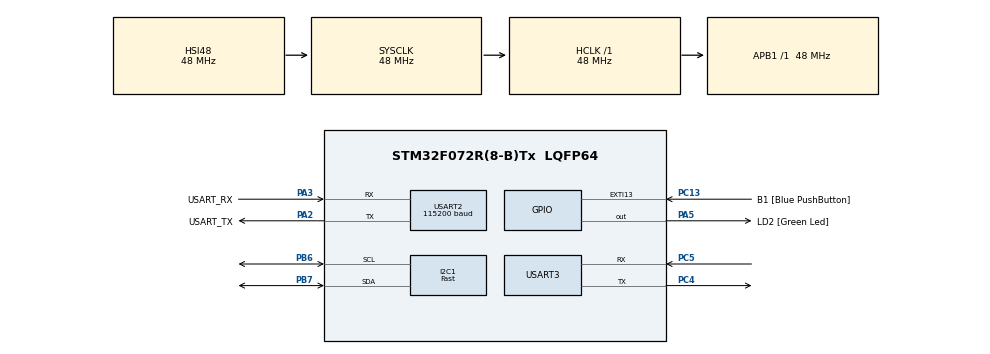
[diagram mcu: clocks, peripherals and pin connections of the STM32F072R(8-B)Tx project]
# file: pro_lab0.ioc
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I2C1.I2C_Speed_Mode=I2C_Fast
I2C1.Timing=0x0000020B
Mcu.Family=STM32F0
Mcu.Name=STM32F072R(8-B)Tx
Mcu.Package=LQFP64
NVIC.I2C1_IRQn=true\:0\:0\:false\:false\:true\:true\:true\:true
NVIC.USART3_4_IRQn=true\:0\:0\:false\:false\:true\:true\:true\:true
PA13.GPIO_Label=TMS
PA13.Mode=Serial_Wire
PA13.Signal=SYS_SWDIO
PA14.GPIO_Label=TCK
PA14.Mode=Serial_Wire
PA14.Signal=SYS_SWCLK
PA2.GPIO_Label=USART_TX
PA2.GPIO_Mode=GPIO_MODE_AF_PP
PA2.GPIO_PuPd=GPIO_NOPULL
PA2.GPIO_Speed=GPIO_SPEED_FREQ_LOW
PA2.Mode=Asynchronous
PA2.Signal=USART2_TX
PA3.GPIO_Label=USART_RX
PA3.GPIO_Mode=GPIO_MODE_AF_PP
PA3.GPIO_PuPd=GPIO_NOPULL
PA3.GPIO_Speed=GPIO_SPEED_FREQ_LOW
PA3.Mode=Asynchronous
PA3.Signal=USART2_RX
PA5.GPIO_Label=LD2 [Green Led]
PA5.GPIO_Mode=GPIO_MODE_OUTPUT_PP
PA5.GPIO_PuPd=GPIO_NOPULL
PA5.GPIO_Speed=GPIO_SPEED_FREQ_LOW
PA5.Signal=GPIO_Output
PB6.Mode=I2C
PB6.Signal=I2C1_SCL
PB7.Mode=I2C
PB7.Signal=I2C1_SDA
PC13.GPIO_Label=B1 [Blue PushButton]
PC13.GPIO_ModeDefaultEXTI=GPIO_MODE_IT_FALLING
PC13.Signal=GPXTI13
PC14-OSC32_IN.Mode=LSE-External-Oscillator
PC14-OSC32_IN.Signal=RCC_OSC32_IN
PC15-OSC32_OUT.Mode=LSE-External-Oscillator
PC15-OSC32_OUT.Signal=RCC_OSC32_OUT
PC4.Mode=Asynchronous
PC4.Signal=USART3_TX
PC5.Mode=Asynchronous
PC5.Signal=USART3_RX
PF0-OSC_IN.Mode=HSE-External-Clock-Source
PF0-OSC_IN.Signal=RCC_OSC_IN
PF1-OSC_OUT.Signal=RCC_OSC_OUT
ProjectManager.HeapSize=0x200
ProjectManager.StackSize=0x400
ProjectManager.TargetToolchain=MDK-ARM V5.32
RCC.AHBFreq_Value=48000000
RCC.APB1Freq_Value=48000000
RCC.APB1TimFreq_Value=48000000
RCC.FLatency-AdvancedSettings=FLASH_LATENCY_1
RCC.HCLKFreq_Value=48000000
RCC.PLLDivider=RCC_PREDIV_DIV2
RCC.PLLMUL=RCC_PLL_MUL12
RCC.PREFETCH_ENABLE-AdvancedSettings=1
RCC.SYSCLKFreq_VALUE=48000000
RCC.SYSCLKSource=RCC_SYSCLKSOURCE_HSI48
USART2.BaudRate=115200
USART2.VirtualMode=VM_ASYNC
USART2.VirtualMode-Asynchronous=VM_ASYNC
USART3.VirtualMode-Asynchronous=VM_ASYNC
board=NUCLEO-F072RB

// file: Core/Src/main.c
/* USER CODE BEGIN Header */
/**
  ******************************************************************************
  * @file           : main.c
  * @brief          : Main program body
  ******************************************************************************
  * @attention
  *
  * Copyright (c) 2023 STMicroelectronics.
  * All rights reserved.
  *
  * This software is licensed under terms that can be found in the LICENSE file
  * in the root directory of this software component.
  * If no LICENSE file comes with this software, it is provided AS-IS.
  *
  ******************************************************************************
  */
/* USER CODE END Header */
#include "main.h"

/* USER CODE BEGIN PD */
#define MAX86150_Addr 0xBC //updated per I2Cscanner, 8 bit version of 7 bit code 0x5E
#define InterruptStatusReg1 0x00 //Interrupt status byte 0 (read both bytes 0x00 and 0x01 when checking int status)
#define InterruptStatusReg2 0x01
#define InterruptEnableReg1 0x02 //Interrupt enable byte 0
#define InterruptEnableReg2 0x03
#define FIFOWritePointerReg 0x04
#define OverflowCounterReg 0x05
#define FIFOReadPointerReg 0x06
#define FIFODataReg 0x07
#define FIFOConfigReg 0x08
#define FIFODataControlReg1 0x09
#define FIFODataControlReg2 0x0A
#define SystemControlReg 0x0D
#define ppgConfigReg0 0x0E
#define ppgConfigReg1 0x0F
#define ProxIntThreshReg 0x10
#define LED1PulseAmpReg 0x11
#define LED2PulseAmpReg 0x12
#define LEDRangeReg 0x14
#define LEDPilotPAReg 0x15
#define EcgConfigReg1 0x3C
#define EcgConfigReg2 0x3D
#define EcgConfigReg3 0x3E
#define EcgConfigReg4 0x3F
#define PartIDReg 0xFF
#define maxi2cFreq 1000000
#define recommendedi2cFreq 400000
#define interrupt_pin D12 //INTB pin --see InterruptIn declaration
#define maxECGrate 0
#define normECGrate 1
/* USER CODE END PD */

I2C_HandleTypeDef hi2c1;

UART_HandleTypeDef huart2;
UART_HandleTypeDef huart3;

void SystemClock_Config(void);
static void MX_GPIO_Init(void);
static void MX_I2C1_Init(void);
static void MX_USART2_UART_Init(void);
static void MX_USART3_UART_Init(void);
/* USER CODE BEGIN PFP */
  void max86150_init(void);
	uint8_t Data[] = "123";
	float aaa = 0;
  uint8_t tran[4];
  int j;

/* USER CODE END PFP */

int main(void)
{
  /* USER CODE BEGIN 1 */
	uint8_t p[2];

	uint8_t start[3]={'o','k','\n'};
	uint8_t dd[3] = {'d','i','\n'};
	uint8_t buf[12]={0}; //receive data buffer
	uint32_t Elem[3];
	uint8_t pp=0 ;
	float ppg;
	uint32_t ecg;
  float iir;
	union Float_c {
		float m_float;
		uint8_t m_bytes[sizeof(float)];
	};
	union Float_c myFloat;
	int i;
	uint8_t dda=0x01;
  /* USER CODE END 1 */

  /* MCU Configuration--------------------------------------------------------*/

  /* Reset of all peripherals, Initializes the Flash interface and the Systick. */
  HAL_Init();

  /* Configure the system clock */
  SystemClock_Config();

  /* Initialize all configured peripherals */
  MX_GPIO_Init();
  MX_I2C1_Init();
  MX_USART2_UART_Init();
  MX_USART3_UART_Init();
  /* USER CODE BEGIN 2 */

	p[0]=0x0;
	p[1]=0;

  uint8_t ck = 0x35;
  void max86150_init();
  HAL_UART_Transmit(&huart2,(uint8_t*)("MAX86150 TEST\n"),1,100);
// // HAL_UARTEx_ReceiveToIdle_IT(&huart4, Data, 64);
  /* USER CODE END 2 */

  /* Infinite loop */
  /* USER CODE BEGIN WHILE */
	HAL_Delay(3000);
  while (1)
  {

		pp = 0x00;
		if(HAL_I2C_Master_Transmit(&hi2c1,0xbc,&pp,1,100)==HAL_OK){//access 0x00 register
			//aaa = 50;
			//j=HAL_I2C_Master_Receive(&hi2c1,0xBD,buf,1,100);
			if(HAL_I2C_Master_Receive(&hi2c1,0xbD,&buf[0],1,100)==HAL_OK){//receive answer
				if((buf[0]&0x80)>0){//FIFO status check
					pp=7;
					if(HAL_I2C_Master_Transmit(&hi2c1,0xBc,&pp,1,100)==HAL_OK){
						if(HAL_I2C_Master_Receive(&hi2c1,0xBD,buf, 9,100)==HAL_OK){
							Elem[0] = ((buf[0]<<16) | (buf[1]<<8) | buf[2]) & 0x07ffff;//IIR
							Elem[1] = ((buf[3]<<16) | (buf[4]<<8) | buf[5]) & 0x07ffff;//PPG
							Elem[2] = ((buf[6]<<16) | (buf[7]<<8) | buf[8]) & 0x03ffff;//ECG
							ppg = (float) Elem[1];
							ecg = (float) Elem[2];
              iir = (float) Elem[0];
							HAL_UART_Transmit(&huart2,(uint8_t*)("1"),1,100);

              myFloat.m_float=(float) iir;
              tran[0]=myFloat.m_bytes[0];
              tran[1]=myFloat.m_bytes[1];
              tran[2]=myFloat.m_bytes[2];
              tran[3]=myFloat.m_bytes[3];
              HAL_UART_Transmit(&huart2,tran,4,100);
              myFloat.m_float=(float) ppg;
              tran[0]=myFloat.m_bytes[0];
              tran[1]=myFloat.m_bytes[1];
              tran[2]=myFloat.m_bytes[2];
              tran[3]=myFloat.m_bytes[3];
              HAL_UART_Transmit(&huart2,tran,4,100);
							myFloat.m_float=(float) ecg;
							tran[0]=myFloat.m_bytes[0];
							tran[1]=myFloat.m_bytes[1];
							tran[2]=myFloat.m_bytes[2];
							tran[3]=myFloat.m_bytes[3];
							HAL_UART_Transmit(&huart2,tran,4,100);
						}
					}
				}
			}

		}
	//	aaa = ppg;
    /* USER CODE END WHILE */

    /* USER CODE BEGIN 3 */
	//	HAL_UART_Transmit(&huart3,start,2,100);
//		HAL_Delay(1);

  }
  /* USER CODE END 3 */
}

void SystemClock_Config(void)
{
  RCC_OscInitTypeDef RCC_OscInitStruct = {0};
  RCC_ClkInitTypeDef RCC_ClkInitStruct = {0};
  RCC_PeriphCLKInitTypeDef PeriphClkInit = {0};

  /** Initializes the RCC Oscillators according to the specified parameters
  * in the RCC_OscInitTypeDef structure.
  */
  RCC_OscInitStruct.OscillatorType = RCC_OSCILLATORTYPE_HSI|RCC_OSCILLATORTYPE_HSI48;
  RCC_OscInitStruct.HSIState = RCC_HSI_ON;
  RCC_OscInitStruct.HSI48State = RCC_HSI48_ON;
  RCC_OscInitStruct.HSICalibrationValue = RCC_HSICALIBRATION_DEFAULT;
  RCC_OscInitStruct.PLL.PLLState = RCC_PLL_NONE;
  if (HAL_RCC_OscConfig(&RCC_OscInitStruct) != HAL_OK)
  {
    Error_Handler();
  }

  /** Initializes the CPU, AHB and APB buses clocks
  */
  RCC_ClkInitStruct.ClockType = RCC_CLOCKTYPE_HCLK|RCC_CLOCKTYPE_SYSCLK
                              |RCC_CLOCKTYPE_PCLK1;
  RCC_ClkInitStruct.SYSCLKSource = RCC_SYSCLKSOURCE_HSI48;
  RCC_ClkInitStruct.AHBCLKDivider = RCC_SYSCLK_DIV1;
  RCC_ClkInitStruct.APB1CLKDivider = RCC_HCLK_DIV1;

  if (HAL_RCC_ClockConfig(&RCC_ClkInitStruct, FLASH_LATENCY_1) != HAL_OK)
  {
    Error_Handler();
  }
  PeriphClkInit.PeriphClockSelection = RCC_PERIPHCLK_USART2|RCC_PERIPHCLK_I2C1;
  PeriphClkInit.Usart2ClockSelection = RCC_USART2CLKSOURCE_PCLK1;
  PeriphClkInit.I2c1ClockSelection = RCC_I2C1CLKSOURCE_HSI;
  if (HAL_RCCEx_PeriphCLKConfig(&PeriphClkInit) != HAL_OK)
  {
    Error_Handler();
  }
}

static void MX_I2C1_Init(void)
{

  hi2c1.Instance = I2C1;
  hi2c1.Init.Timing = 0x0000020B;
  hi2c1.Init.OwnAddress1 = 0;
  hi2c1.Init.AddressingMode = I2C_ADDRESSINGMODE_7BIT;
  hi2c1.Init.DualAddressMode = I2C_DUALADDRESS_DISABLE;
  hi2c1.Init.OwnAddress2 = 0;
  hi2c1.Init.OwnAddress2Masks = I2C_OA2_NOMASK;
  hi2c1.Init.GeneralCallMode = I2C_GENERALCALL_DISABLE;
  hi2c1.Init.NoStretchMode = I2C_NOSTRETCH_DISABLE;
  if (HAL_I2C_Init(&hi2c1) != HAL_OK)
  {
    Error_Handler();
  }

  /** Configure Analogue filter
  */
  if (HAL_I2CEx_ConfigAnalogFilter(&hi2c1, I2C_ANALOGFILTER_ENABLE) != HAL_OK)
  {
    Error_Handler();
  }

  /** Configure Digital filter
  */
  if (HAL_I2CEx_ConfigDigitalFilter(&hi2c1, 0) != HAL_OK)
  {
    Error_Handler();
  }

}

static void MX_USART2_UART_Init(void)
{

  huart2.Instance = USART2;
  huart2.Init.BaudRate = 115200;
  huart2.Init.WordLength = UART_WORDLENGTH_8B;
  huart2.Init.StopBits = UART_STOPBITS_1;
  huart2.Init.Parity = UART_PARITY_NONE;
  huart2.Init.Mode = UART_MODE_TX_RX;
  huart2.Init.HwFlowCtl = UART_HWCONTROL_NONE;
  huart2.Init.OverSampling = UART_OVERSAMPLING_16;
  huart2.Init.OneBitSampling = UART_ONE_BIT_SAMPLE_DISABLE;
  huart2.AdvancedInit.AdvFeatureInit = UART_ADVFEATURE_NO_INIT;
  if (HAL_UART_Init(&huart2) != HAL_OK)
  {
    Error_Handler();
  }

}

static void MX_USART3_UART_Init(void)
{

  huart3.Instance = USART3;
  huart3.Init.BaudRate = 38400;
  huart3.Init.WordLength = UART_WORDLENGTH_8B;
  huart3.Init.StopBits = UART_STOPBITS_1;
  huart3.Init.Parity = UART_PARITY_NONE;
  huart3.Init.Mode = UART_MODE_TX_RX;
  huart3.Init.HwFlowCtl = UART_HWCONTROL_NONE;
  huart3.Init.OverSampling = UART_OVERSAMPLING_16;
  huart3.Init.OneBitSampling = UART_ONE_BIT_SAMPLE_DISABLE;
  huart3.AdvancedInit.AdvFeatureInit = UART_ADVFEATURE_NO_INIT;
  if (HAL_UART_Init(&huart3) != HAL_OK)
  {
    Error_Handler();
  }

}

static void MX_GPIO_Init(void)
{
  GPIO_InitTypeDef GPIO_InitStruct = {0};

  /* GPIO Ports Clock Enable */
  __HAL_RCC_GPIOC_CLK_ENABLE();
  __HAL_RCC_GPIOF_CLK_ENABLE();
  __HAL_RCC_GPIOA_CLK_ENABLE();
  __HAL_RCC_GPIOB_CLK_ENABLE();

  /*Configure GPIO pin Output Level */
  HAL_GPIO_WritePin(LD2_GPIO_Port, LD2_Pin, GPIO_PIN_RESET);

  /*Configure GPIO pin : B1_Pin */
  GPIO_InitStruct.Pin = B1_Pin;
  GPIO_InitStruct.Mode = GPIO_MODE_IT_FALLING;
  GPIO_InitStruct.Pull = GPIO_NOPULL;
  HAL_GPIO_Init(B1_GPIO_Port, &GPIO_InitStruct);

  /*Configure GPIO pin : LD2_Pin */
  GPIO_InitStruct.Pin = LD2_Pin;
  GPIO_InitStruct.Mode = GPIO_MODE_OUTPUT_PP;
  GPIO_InitStruct.Pull = GPIO_NOPULL;
  GPIO_InitStruct.Speed = GPIO_SPEED_FREQ_LOW;
  HAL_GPIO_Init(LD2_GPIO_Port, &GPIO_InitStruct);

}

/* USER CODE BEGIN 4 */
void HAL_UARTEx_RxEventCallback(UART_HandleTypeDef *huart, uint16_t Size)
{
	if (huart->Instance==USART3)
	{
		HAL_UART_Transmit(&huart3, Data, Size, 1000);
	}
	HAL_UARTEx_ReceiveToIdle_IT(huart, Data, 64);
}

void max86150_init()
{
  uint8_t dda=0x01;
  dda = 0x80;
  HAL_I2C_Mem_Write(&hi2c1,0xbc,0x02,1,&dda,1,100);
  dda = 0x01;
  HAL_I2C_Mem_Write(&hi2c1,0xbc,0x0d,1,&dda,1,100);
  dda = 0x04;
  HAL_I2C_Mem_Write(&hi2c1,0xbc,0x0d,1,&dda,1,100);
  dda = 0x1f;
  HAL_I2C_Mem_Write(&hi2c1,0xbc,0x08,1,&dda,1,100);
  dda = 0x21;
  HAL_I2C_Mem_Write(&hi2c1,0xbc,0x09,1,&dda,1,100);
  dda = 0x09;
  HAL_I2C_Mem_Write(&hi2c1,0xbc,0x0a,1,&dda,1,100);
  dda = 0x55;
  HAL_I2C_Mem_Write(&hi2c1,0xbc,0x11,1,&dda,1,100);
  dda = 0x55;
  HAL_I2C_Mem_Write(&hi2c1,0xbc,0x12,1,&dda,1,100);
  dda = 0xd3;
  HAL_I2C_Mem_Write(&hi2c1,0xbc,0x0e,1,&dda,1,100);
  dda = 0x18;
  HAL_I2C_Mem_Write(&hi2c1,0xbc,0x0f,1,&dda,1,100);
  dda = 0x03;
  HAL_I2C_Mem_Write(&hi2c1,0xbc,0x3c,1,&dda,1,100);
  dda = 0x0D;
  HAL_I2C_Mem_Write(&hi2c1,0xbc,0x3e,1,&dda,1,100);
  dda = 0x80;
  HAL_I2C_Mem_Write(&hi2c1,0xbc,0x02,1,&dda,1,100);

  dda = 0x54;
  HAL_I2C_Mem_Write(&hi2c1,0xbc,0xff,1,&dda,1,100);
  dda = 0x4d;
  HAL_I2C_Mem_Write(&hi2c1,0xbc,0xff,1,&dda,1,100);
  dda = 0x0a;
  HAL_I2C_Mem_Write(&hi2c1,0xbc,0xce,1,&dda,1,100);
  dda = 0x18;
  HAL_I2C_Mem_Write(&hi2c1,0xbc,0xcf,1,&dda,1,100);
  dda = 0x00;
}
/* USER CODE END 4 */

void Error_Handler(void)
{
  __disable_irq();
  while (1)
  {
  }
}
